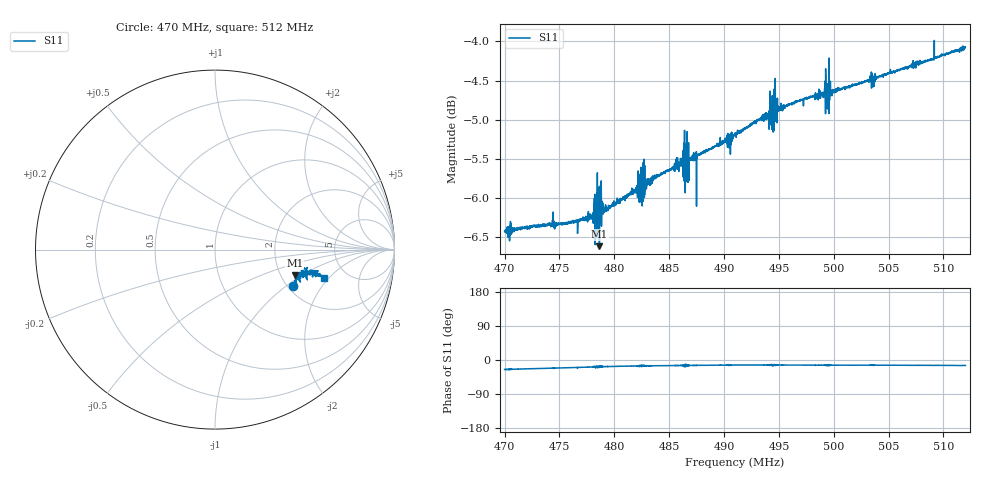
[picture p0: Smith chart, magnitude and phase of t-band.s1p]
! Calibrated averaged scanner-service zoom
# Hz S RI R 50
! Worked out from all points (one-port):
!   4001 points, 470 MHz to 512 MHz, reference 50 ohm
!   lowest |S11| = -6.6 dB at 478.6 MHz (marker M1), VSWR 2.75, Z = 119 - j43.6 ohm
!   |S11| at or under -10 dB: nowhere
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4.7e8  0.4321 -0.2019
4.7525e8  0.4507 -0.1729
4.76678e8  0.4574 -0.162
4.78022e8  0.4632 -0.1531
4.78211e8  0.4764 -0.1434
4.783055e8  0.4617 -0.1747
4.784525e8  0.4974 -0.1511
4.786415e8  0.4438 -0.144
4.79198e8  0.4732 -0.1484
4.805e8  0.4782 -0.1441
4.820855e8  0.4854 -0.1374
4.82516e8  0.5036 -0.1443
4.829675e8  0.4925 -0.137
4.8575e8  0.5072 -0.1314
4.86149e8  0.5092 -0.1328
4.862855e8  0.5008 -0.1264
4.86716e8  0.4961 -0.1289
4.868945e8  0.5139 -0.1314
4.91e8  0.5358 -0.1269
4.93394e8  0.5478 -0.1291
4.94276e8  0.5445 -0.1219
4.94444e8  0.5487 -0.1425
4.945805e8  0.556 -0.1311
4.947485e8  0.5585 -0.1369
4.9625e8  0.5609 -0.1335
5.015e8  0.574 -0.1405
5.0675e8  0.5895 -0.1459
5.12e8  0.6061 -0.156
